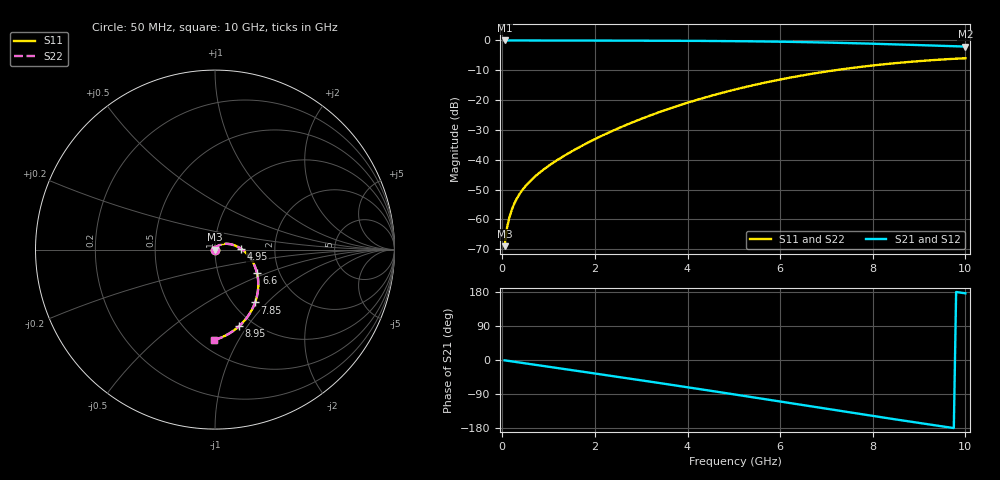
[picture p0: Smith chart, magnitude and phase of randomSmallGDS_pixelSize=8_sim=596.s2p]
! freq	dB(S11)	phase(S11)	dB(S12)	phase(S12)
!  dB(S21)	phase(S21)	dB(S22)	phase(S22)
!S-par simulation data
#  GHz  S  DB  R 50
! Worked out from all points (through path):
!   200 points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, 50 MHz to 10 GHz, reference 50 ohm
!   highest |S21| = 0.00 dB at 50 MHz (marker M1); lowest = -2.1 dB at 10 GHz (marker M2)
!   group delay of S21, straight-line fit = 51.6 ps
!   lowest |S11| = -68.9 dB at 50 MHz (marker M3), VSWR 1.00, Z = 50 + j0.0354 ohm
!   |S11| at or under -10 dB: start of sweep to 7.179 GHz
!   |S22| runs from -68.9 to -5.9 dB; largest |S21 - S12| = 0
!   S11 on the Smith chart (normalised r, x): 50 MHz: 1.00, +0.00; 4.95 GHz: 1.34, +0.01; 6.6 GHz: 1.54, -0.44; 7.85 GHz: 1.25, -0.85; 8.95 GHz: 0.86, -0.92; 10 GHz: 0.59, -0.80
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0.05  -68.95 82.7  -0.00 -0.9  -0.00 -0.9  -68.95 82.7
0.1  -62.96 84.8  -0.00 -1.8  -0.00 -1.8  -62.96 84.8
0.15  -59.45 84.8  -0.00 -2.7  -0.00 -2.7  -59.45 84.8
0.2  -56.94 84.3  -0.00 -3.6  -0.00 -3.6  -56.94 84.3
0.3  -53.40 82.9  -0.00 -5.4  -0.00 -5.4  -53.40 82.9
0.45  -49.80 80.6  -0.01 -8.1  -0.01 -8.1  -49.80 80.6
0.65  -46.41 77.5  -0.01 -11.6  -0.01 -11.6  -46.41 77.5
0.95  -42.59 73.0  -0.02 -16.9  -0.02 -16.9  -42.59 73.0
1.75  -35.05 60.2  -0.04 -31.2  -0.04 -31.2  -35.05 60.2
2.55  -29.14 46.1  -0.06 -45.5  -0.06 -45.5  -29.14 46.1
3.4  -23.97 30.5  -0.09 -60.9  -0.09 -60.9  -23.97 30.5
4.2  -19.93 15.7  -0.14 -75.6  -0.14 -75.6  -19.93 15.7
4.95  -16.74 1.7  -0.23 -89.6  -0.23 -89.6  -16.74 1.7
5.05  -16.35 -0.2  -0.24 -91.5  -0.24 -91.5  -16.35 -0.2
5.8  -13.72 -14.3  -0.37 -105.7  -0.37 -105.7  -13.72 -14.3
6.6  -11.40 -29.4  -0.58 -121.0  -0.58 -121.0  -11.40 -29.4
6.7  -11.14 -31.3  -0.61 -122.9  -0.61 -122.9  -11.14 -31.3
7.3  -9.73 -42.6  -0.81 -134.4  -0.81 -134.4  -9.73 -42.6
7.85  -8.65 -52.8  -1.03 -144.8  -1.03 -144.8  -8.65 -52.8
8.35  -7.81 -61.9  -1.25 -154.1  -1.25 -154.1  -7.81 -61.9
8.95  -6.98 -72.6  -1.53 -165.2  -1.53 -165.2  -6.98 -72.6
10  -5.95 -90.6  -2.05 176.0  -2.05 176.0  -5.95 -90.6
